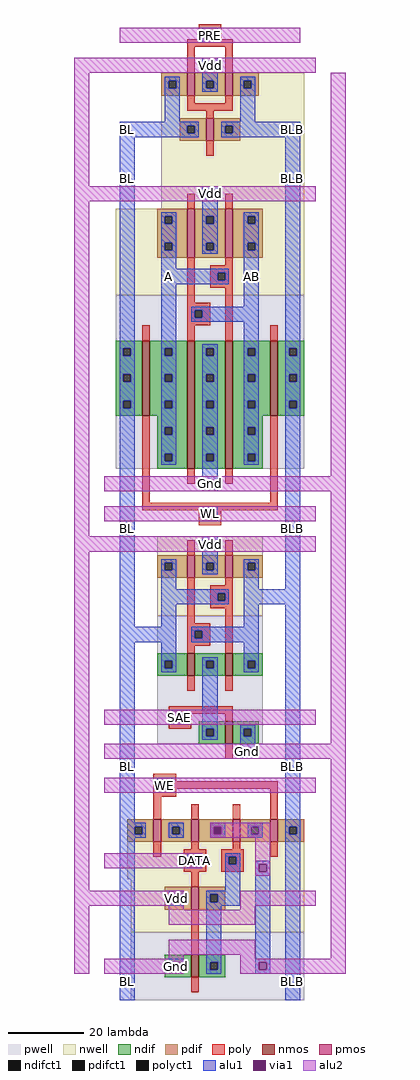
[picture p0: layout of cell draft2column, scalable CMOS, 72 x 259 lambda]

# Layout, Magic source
magic
tech scmos
<< nwell >>
rect 0 14 38 50
rect -12 -9 38 14
rect -1 -94 27 -73
rect -9 -164 38 -148
rect -8 -178 38 -164
<< pwell >>
rect -12 -55 38 -9
rect -1 -128 27 -94
rect -8 -196 38 -178
<< poly >>
rect 10 61 16 63
rect 10 59 12 61
rect 14 59 16 61
rect 7 57 19 59
rect 7 50 9 57
rect 17 50 19 57
rect 7 42 9 44
rect 17 42 19 44
rect 7 40 19 42
rect 12 38 14 40
rect 12 28 14 32
rect 7 14 9 18
rect 17 14 19 18
rect 7 -11 9 1
rect 17 -1 19 1
rect 13 -3 19 -1
rect 13 -5 15 -3
rect 17 -5 19 -3
rect 13 -7 19 -5
rect 7 -13 13 -11
rect 7 -15 9 -13
rect 11 -15 13 -13
rect 7 -17 13 -15
rect -5 -21 -3 -17
rect 7 -21 9 -17
rect 17 -21 19 -7
rect 29 -21 31 -17
rect -5 -64 -3 -41
rect 7 -59 9 -55
rect 17 -59 19 -55
rect 29 -64 31 -41
rect -5 -66 31 -64
rect 10 -68 12 -66
rect 14 -68 16 -66
rect 10 -70 16 -68
rect 7 -78 9 -74
rect 17 -78 19 -74
rect 7 -96 9 -84
rect 17 -86 19 -84
rect 13 -88 19 -86
rect 13 -90 15 -88
rect 17 -90 19 -88
rect 13 -92 19 -90
rect 7 -98 13 -96
rect 7 -100 9 -98
rect 11 -100 13 -98
rect 7 -102 13 -100
rect 7 -104 9 -102
rect 17 -104 19 -92
rect 7 -114 9 -110
rect 17 -114 19 -110
rect 2 -120 19 -118
rect 2 -122 4 -120
rect 6 -122 8 -120
rect 17 -122 19 -120
rect 2 -124 8 -122
rect 17 -132 19 -128
rect -2 -138 4 -136
rect -2 -140 0 -138
rect 2 -140 31 -138
rect -2 -142 4 -140
rect -2 -148 0 -142
rect 8 -148 10 -144
rect 19 -148 21 -144
rect 29 -148 31 -140
rect -2 -158 0 -154
rect 8 -156 10 -154
rect 19 -156 21 -154
rect 6 -158 12 -156
rect 6 -160 8 -158
rect 10 -160 12 -158
rect 6 -162 12 -160
rect 16 -158 22 -156
rect 29 -158 31 -154
rect 16 -160 18 -158
rect 20 -160 22 -158
rect 16 -162 22 -160
rect 8 -166 10 -162
rect 8 -184 10 -172
rect 8 -194 10 -190
<< ndif >>
rect -12 -23 -5 -21
rect -12 -25 -10 -23
rect -8 -25 -5 -23
rect -12 -30 -5 -25
rect -12 -32 -10 -30
rect -8 -32 -5 -30
rect -12 -37 -5 -32
rect -12 -39 -10 -37
rect -8 -39 -5 -37
rect -12 -41 -5 -39
rect -3 -23 7 -21
rect -3 -25 1 -23
rect 3 -25 7 -23
rect -3 -30 7 -25
rect -3 -32 1 -30
rect 3 -32 7 -30
rect -3 -37 7 -32
rect -3 -39 1 -37
rect 3 -39 7 -37
rect -3 -41 7 -39
rect -1 -44 7 -41
rect -1 -46 1 -44
rect 3 -46 7 -44
rect -1 -51 7 -46
rect -1 -53 1 -51
rect 3 -53 7 -51
rect -1 -55 7 -53
rect 9 -23 17 -21
rect 9 -25 12 -23
rect 14 -25 17 -23
rect 9 -30 17 -25
rect 9 -32 12 -30
rect 14 -32 17 -30
rect 9 -37 17 -32
rect 9 -39 12 -37
rect 14 -39 17 -37
rect 9 -44 17 -39
rect 9 -46 12 -44
rect 14 -46 17 -44
rect 9 -51 17 -46
rect 9 -53 12 -51
rect 14 -53 17 -51
rect 9 -55 17 -53
rect 19 -23 29 -21
rect 19 -25 23 -23
rect 25 -25 29 -23
rect 19 -30 29 -25
rect 19 -32 23 -30
rect 25 -32 29 -30
rect 19 -37 29 -32
rect 19 -39 23 -37
rect 25 -39 29 -37
rect 19 -41 29 -39
rect 31 -23 38 -21
rect 31 -25 34 -23
rect 36 -25 38 -23
rect 31 -30 38 -25
rect 31 -32 34 -30
rect 36 -32 38 -30
rect 31 -37 38 -32
rect 31 -39 34 -37
rect 36 -39 38 -37
rect 31 -41 38 -39
rect 19 -44 27 -41
rect 19 -46 23 -44
rect 25 -46 27 -44
rect 19 -51 27 -46
rect 19 -53 23 -51
rect 25 -53 27 -51
rect 19 -55 27 -53
rect -1 -106 7 -104
rect -1 -108 1 -106
rect 3 -108 7 -106
rect -1 -110 7 -108
rect 9 -106 17 -104
rect 9 -108 12 -106
rect 14 -108 17 -106
rect 9 -110 17 -108
rect 19 -106 27 -104
rect 19 -108 23 -106
rect 25 -108 27 -106
rect 19 -110 27 -108
rect 10 -124 17 -122
rect 10 -126 12 -124
rect 14 -126 17 -124
rect 10 -128 17 -126
rect 19 -124 26 -122
rect 19 -126 22 -124
rect 24 -126 26 -124
rect 19 -128 26 -126
rect 1 -186 8 -184
rect 1 -188 3 -186
rect 5 -188 8 -186
rect 1 -190 8 -188
rect 10 -186 17 -184
rect 10 -188 13 -186
rect 15 -188 17 -186
rect 10 -190 17 -188
<< pdif >>
rect 0 48 7 50
rect 0 46 2 48
rect 4 46 7 48
rect 0 44 7 46
rect 9 48 17 50
rect 9 46 12 48
rect 14 46 17 48
rect 9 44 17 46
rect 19 48 26 50
rect 19 46 22 48
rect 24 46 26 48
rect 19 44 26 46
rect 5 36 12 38
rect 5 34 7 36
rect 9 34 12 36
rect 5 32 12 34
rect 14 36 21 38
rect 14 34 17 36
rect 19 34 21 36
rect 14 32 21 34
rect -1 12 7 14
rect -1 10 1 12
rect 3 10 7 12
rect -1 5 7 10
rect -1 3 1 5
rect 3 3 7 5
rect -1 1 7 3
rect 9 12 17 14
rect 9 10 12 12
rect 14 10 17 12
rect 9 5 17 10
rect 9 3 12 5
rect 14 3 17 5
rect 9 1 17 3
rect 19 12 27 14
rect 19 10 23 12
rect 25 10 27 12
rect 19 5 27 10
rect 19 3 23 5
rect 25 3 27 5
rect 19 1 27 3
rect -1 -80 7 -78
rect -1 -82 1 -80
rect 3 -82 7 -80
rect -1 -84 7 -82
rect 9 -80 17 -78
rect 9 -82 12 -80
rect 14 -82 17 -80
rect 9 -84 17 -82
rect 19 -80 27 -78
rect 19 -82 23 -80
rect 25 -82 27 -80
rect 19 -84 27 -82
rect -9 -150 -2 -148
rect -9 -152 -7 -150
rect -5 -152 -2 -150
rect -9 -154 -2 -152
rect 0 -150 8 -148
rect 0 -152 3 -150
rect 5 -152 8 -150
rect 0 -154 8 -152
rect 10 -150 19 -148
rect 10 -152 14 -150
rect 16 -152 19 -150
rect 10 -154 19 -152
rect 21 -150 29 -148
rect 21 -152 24 -150
rect 26 -152 29 -150
rect 21 -154 29 -152
rect 31 -150 38 -148
rect 31 -152 34 -150
rect 36 -152 38 -150
rect 31 -154 38 -152
rect 1 -168 8 -166
rect 1 -170 3 -168
rect 5 -170 8 -168
rect 1 -172 8 -170
rect 10 -168 17 -166
rect 10 -170 13 -168
rect 15 -170 17 -168
rect 10 -172 17 -170
<< alu1 >>
rect 11 61 15 62
rect 11 59 12 61
rect 14 59 15 61
rect 11 58 15 59
rect 11 53 15 54
rect 11 51 12 53
rect 14 51 15 53
rect 1 48 5 49
rect 1 46 2 48
rect 4 46 5 48
rect 1 37 5 46
rect 11 48 15 51
rect 11 46 12 48
rect 14 46 15 48
rect 11 45 15 46
rect 21 48 25 49
rect 21 46 22 48
rect 24 46 25 48
rect 21 37 25 46
rect -11 36 10 37
rect -11 34 7 36
rect 9 34 10 36
rect -11 33 10 34
rect 16 36 37 37
rect 16 34 17 36
rect 19 34 37 36
rect 16 33 37 34
rect -11 -23 -7 33
rect 11 19 15 20
rect 11 17 12 19
rect 14 17 15 19
rect -11 -25 -10 -23
rect -8 -25 -7 -23
rect -11 -30 -7 -25
rect -11 -32 -10 -30
rect -8 -32 -7 -30
rect -11 -37 -7 -32
rect -11 -39 -10 -37
rect -8 -39 -7 -37
rect -11 -97 -7 -39
rect 0 12 4 13
rect 0 10 1 12
rect 3 10 4 12
rect 0 5 4 10
rect 0 3 1 5
rect 3 3 4 5
rect 0 -2 4 3
rect 11 12 15 17
rect 11 10 12 12
rect 14 10 15 12
rect 11 5 15 10
rect 11 3 12 5
rect 14 3 15 5
rect 11 2 15 3
rect 22 12 26 13
rect 22 10 23 12
rect 25 10 26 12
rect 22 5 26 10
rect 22 3 23 5
rect 25 3 26 5
rect 0 -3 18 -2
rect 0 -5 15 -3
rect 17 -5 18 -3
rect 0 -6 18 -5
rect 0 -23 4 -6
rect 22 -12 26 3
rect 8 -13 26 -12
rect 8 -15 9 -13
rect 11 -15 26 -13
rect 8 -16 26 -15
rect 0 -25 1 -23
rect 3 -25 4 -23
rect 0 -30 4 -25
rect 0 -32 1 -30
rect 3 -32 4 -30
rect 0 -37 4 -32
rect 0 -39 1 -37
rect 3 -39 4 -37
rect 0 -44 4 -39
rect 0 -46 1 -44
rect 3 -46 4 -44
rect 0 -51 4 -46
rect 0 -53 1 -51
rect 3 -53 4 -51
rect 0 -54 4 -53
rect 11 -23 15 -22
rect 11 -25 12 -23
rect 14 -25 15 -23
rect 11 -30 15 -25
rect 11 -32 12 -30
rect 14 -32 15 -30
rect 11 -37 15 -32
rect 11 -39 12 -37
rect 14 -39 15 -37
rect 11 -44 15 -39
rect 11 -46 12 -44
rect 14 -46 15 -44
rect 11 -51 15 -46
rect 11 -53 12 -51
rect 14 -53 15 -51
rect 11 -58 15 -53
rect 22 -23 26 -16
rect 22 -25 23 -23
rect 25 -25 26 -23
rect 22 -30 26 -25
rect 22 -32 23 -30
rect 25 -32 26 -30
rect 22 -37 26 -32
rect 22 -39 23 -37
rect 25 -39 26 -37
rect 22 -44 26 -39
rect 22 -46 23 -44
rect 25 -46 26 -44
rect 22 -51 26 -46
rect 22 -53 23 -51
rect 25 -53 26 -51
rect 22 -54 26 -53
rect 33 -23 37 33
rect 33 -25 34 -23
rect 36 -25 37 -23
rect 33 -30 37 -25
rect 33 -32 34 -30
rect 36 -32 37 -30
rect 33 -37 37 -32
rect 33 -39 34 -37
rect 36 -39 37 -37
rect 11 -60 12 -58
rect 14 -60 15 -58
rect 11 -61 15 -60
rect 11 -66 15 -65
rect 11 -68 12 -66
rect 14 -68 15 -66
rect 11 -69 15 -68
rect 11 -74 15 -73
rect 11 -76 12 -74
rect 14 -76 15 -74
rect 0 -80 4 -79
rect 0 -82 1 -80
rect 3 -82 4 -80
rect 0 -87 4 -82
rect 11 -80 15 -76
rect 11 -82 12 -80
rect 14 -82 15 -80
rect 11 -83 15 -82
rect 22 -80 26 -79
rect 22 -82 23 -80
rect 25 -82 26 -80
rect 22 -87 26 -82
rect 33 -87 37 -39
rect 0 -88 18 -87
rect 0 -90 15 -88
rect 17 -90 18 -88
rect 0 -91 18 -90
rect 22 -91 37 -87
rect 0 -97 4 -91
rect 22 -97 26 -91
rect -11 -101 4 -97
rect 8 -98 26 -97
rect 8 -100 9 -98
rect 11 -100 26 -98
rect 8 -101 26 -100
rect -11 -149 -7 -101
rect 0 -106 4 -101
rect 0 -108 1 -106
rect 3 -108 4 -106
rect 0 -109 4 -108
rect 11 -106 15 -105
rect 11 -108 12 -106
rect 14 -108 15 -106
rect 3 -120 7 -119
rect 3 -122 4 -120
rect 6 -122 7 -120
rect 3 -123 7 -122
rect 11 -124 15 -108
rect 22 -106 26 -101
rect 22 -108 23 -106
rect 25 -108 26 -106
rect 22 -109 26 -108
rect 11 -126 12 -124
rect 14 -126 15 -124
rect 11 -127 15 -126
rect 21 -124 25 -123
rect 21 -126 22 -124
rect 24 -126 25 -124
rect 21 -129 25 -126
rect 21 -131 22 -129
rect 24 -131 25 -129
rect 21 -132 25 -131
rect -1 -138 3 -137
rect -1 -140 0 -138
rect 2 -140 3 -138
rect -1 -141 3 -140
rect -11 -150 -4 -149
rect -11 -152 -7 -150
rect -5 -152 -4 -150
rect -11 -153 -4 -152
rect 2 -150 6 -149
rect 2 -152 3 -150
rect 5 -152 6 -150
rect 2 -153 6 -152
rect 13 -150 17 -149
rect 13 -152 14 -150
rect 16 -152 17 -150
rect 13 -153 17 -152
rect 23 -150 27 -149
rect 23 -152 24 -150
rect 26 -152 27 -150
rect 23 -153 27 -152
rect 33 -150 37 -91
rect 33 -152 34 -150
rect 36 -152 37 -150
rect -11 -196 -7 -153
rect 7 -158 11 -157
rect 7 -160 8 -158
rect 10 -160 11 -158
rect 7 -161 11 -160
rect 17 -158 21 -157
rect 17 -160 18 -158
rect 20 -160 21 -158
rect 17 -167 21 -160
rect 2 -168 6 -167
rect 2 -170 3 -168
rect 5 -170 6 -168
rect 2 -171 6 -170
rect 12 -168 21 -167
rect 12 -170 13 -168
rect 15 -170 21 -168
rect 12 -171 21 -170
rect 25 -160 29 -159
rect 25 -162 26 -160
rect 28 -162 29 -160
rect 2 -186 6 -185
rect 2 -188 3 -186
rect 5 -188 6 -186
rect 2 -189 6 -188
rect 12 -186 16 -171
rect 12 -188 13 -186
rect 15 -188 16 -186
rect 12 -189 16 -188
rect 25 -186 29 -162
rect 25 -188 26 -186
rect 28 -188 29 -186
rect 25 -189 29 -188
rect 33 -196 37 -152
<< alu2 >>
rect -11 61 37 62
rect -11 59 12 61
rect 14 59 37 61
rect -11 58 37 59
rect -23 53 41 54
rect -23 51 12 53
rect 14 51 41 53
rect -23 50 41 51
rect -23 20 -19 50
rect -23 19 41 20
rect -23 17 12 19
rect 14 17 41 19
rect -23 16 41 17
rect -23 -73 -19 16
rect 45 -57 49 50
rect -15 -58 49 -57
rect -15 -60 12 -58
rect 14 -60 49 -58
rect -15 -61 49 -60
rect -15 -66 41 -65
rect -15 -68 12 -66
rect 14 -68 41 -66
rect -15 -69 41 -68
rect -23 -74 41 -73
rect -23 -76 12 -74
rect 14 -76 41 -74
rect -23 -77 41 -76
rect -23 -167 -19 -77
rect -15 -120 41 -119
rect -15 -122 4 -120
rect 6 -122 41 -120
rect -15 -123 41 -122
rect 45 -128 49 -61
rect -15 -129 49 -128
rect -15 -131 22 -129
rect 24 -131 49 -129
rect -15 -132 49 -131
rect -15 -138 41 -137
rect -15 -140 0 -138
rect 2 -140 41 -138
rect -15 -141 41 -140
rect 13 -150 29 -149
rect 13 -152 14 -150
rect 16 -152 29 -150
rect 13 -153 29 -152
rect -15 -158 11 -157
rect -15 -160 8 -158
rect 10 -160 11 -158
rect -15 -161 11 -160
rect 25 -160 29 -153
rect 25 -162 26 -160
rect 28 -162 29 -160
rect 25 -163 29 -162
rect -23 -168 6 -167
rect -23 -170 3 -168
rect 5 -170 6 -168
rect -23 -171 6 -170
rect -23 -189 -19 -171
rect 2 -172 6 -171
rect 21 -171 41 -167
rect 21 -172 25 -171
rect 2 -176 25 -172
rect 2 -184 25 -180
rect 2 -185 6 -184
rect -15 -186 6 -185
rect -15 -188 3 -186
rect 5 -188 6 -186
rect -15 -189 6 -188
rect 21 -185 25 -184
rect 45 -185 49 -132
rect 21 -186 49 -185
rect 21 -188 26 -186
rect 28 -188 49 -186
rect 21 -189 49 -188
<< nmos >>
rect -5 -41 -3 -21
rect 7 -55 9 -21
rect 17 -55 19 -21
rect 29 -41 31 -21
rect 7 -110 9 -104
rect 17 -110 19 -104
rect 17 -128 19 -122
rect 8 -190 10 -184
<< pmos >>
rect 7 44 9 50
rect 17 44 19 50
rect 12 32 14 38
rect 7 1 9 14
rect 17 1 19 14
rect 7 -84 9 -78
rect 17 -84 19 -78
rect -2 -154 0 -148
rect 8 -154 10 -148
rect 19 -154 21 -148
rect 29 -154 31 -148
rect 8 -172 10 -166
<< polyct1 >>
rect 12 59 14 61
rect 15 -5 17 -3
rect 9 -15 11 -13
rect 12 -68 14 -66
rect 15 -90 17 -88
rect 9 -100 11 -98
rect 4 -122 6 -120
rect 0 -140 2 -138
rect 8 -160 10 -158
rect 18 -160 20 -158
<< ndifct1 >>
rect -10 -25 -8 -23
rect -10 -32 -8 -30
rect -10 -39 -8 -37
rect 1 -25 3 -23
rect 1 -32 3 -30
rect 1 -39 3 -37
rect 1 -46 3 -44
rect 1 -53 3 -51
rect 12 -25 14 -23
rect 12 -32 14 -30
rect 12 -39 14 -37
rect 12 -46 14 -44
rect 12 -53 14 -51
rect 23 -25 25 -23
rect 23 -32 25 -30
rect 23 -39 25 -37
rect 34 -25 36 -23
rect 34 -32 36 -30
rect 34 -39 36 -37
rect 23 -46 25 -44
rect 23 -53 25 -51
rect 1 -108 3 -106
rect 12 -108 14 -106
rect 23 -108 25 -106
rect 12 -126 14 -124
rect 22 -126 24 -124
rect 3 -188 5 -186
rect 13 -188 15 -186
<< pdifct1 >>
rect 2 46 4 48
rect 12 46 14 48
rect 22 46 24 48
rect 7 34 9 36
rect 17 34 19 36
rect 1 10 3 12
rect 1 3 3 5
rect 12 10 14 12
rect 12 3 14 5
rect 23 10 25 12
rect 23 3 25 5
rect 1 -82 3 -80
rect 12 -82 14 -80
rect 23 -82 25 -80
rect -7 -152 -5 -150
rect 3 -152 5 -150
rect 14 -152 16 -150
rect 24 -152 26 -150
rect 34 -152 36 -150
rect 3 -170 5 -168
rect 13 -170 15 -168
<< via1 >>
rect 12 59 14 61
rect 12 51 14 53
rect 12 17 14 19
rect 12 -60 14 -58
rect 12 -68 14 -66
rect 12 -76 14 -74
rect 4 -122 6 -120
rect 22 -131 24 -129
rect 0 -140 2 -138
rect 14 -152 16 -150
rect 8 -160 10 -158
rect 3 -170 5 -168
rect 26 -162 28 -160
rect 3 -188 5 -186
rect 26 -188 28 -186
<< labels >>
rlabel alu1 -9 22 -9 22 5 BL
rlabel alu1 35 22 35 22 5 BLB
rlabel via1 13 18 13 18 1 Vdd
rlabel via1 13 -59 13 -59 1 Gnd
rlabel via1 13 -67 13 -67 1 WL
rlabel via1 5 -121 5 -121 1 SAE
rlabel via1 23 -130 23 -130 1 Gnd
rlabel via1 13 -75 13 -75 1 Vdd
rlabel alu1 -9 -71 -9 -71 5 BL
rlabel alu1 35 -71 35 -71 5 BLB
rlabel via1 4 -169 4 -169 1 Vdd
rlabel via1 4 -187 4 -187 1 Gnd
rlabel via1 1 -139 1 -139 1 WE
rlabel alu1 -9 -134 -9 -134 5 BL
rlabel alu1 35 -134 35 -134 5 BLB
rlabel alu1 -9 -191 -9 -191 1 BL
rlabel alu1 35 -191 35 -191 1 BLB
rlabel via1 9 -159 9 -159 1 DATA
rlabel alu1 2 -4 2 -4 1 A
rlabel alu1 24 -4 24 -4 1 AB
rlabel alu1 -9 35 -9 35 3 BL
rlabel alu1 35 35 35 35 7 BLB
rlabel via1 13 52 13 52 1 Vdd
rlabel via1 13 60 13 60 5 PRE
<< end >>
